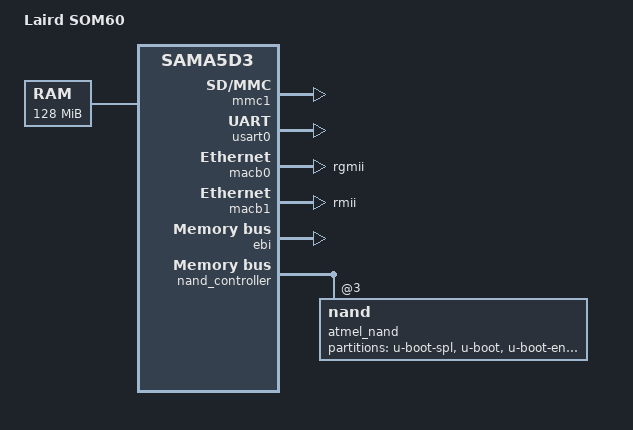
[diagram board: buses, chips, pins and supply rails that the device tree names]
// SPDX-License-Identifier: GPL-2.0
/*
 * at91-som60.dtsi - Device Tree file for the SOM60 module
 *
 *  Copyright (C) 2018 Laird,
 *		  2018 Ben Whitten <ben.whitten@lairdtech.com>
 *
 */
#include "sama5d36.dtsi"

/ {
	model = "Laird SOM60";
	compatible = "laird,som60", "atmel,sama5d36", "atmel,sama5d3", "atmel,sama5";

	chosen {
		stdout-path = &dbgu;
	};

	memory@20000000 {
		reg = <0x20000000 0x8000000>;
	};

	clocks {
		slow_xtal {
			clock-frequency = <32768>;
		};

		main_xtal {
			clock-frequency = <12000000>;
		};
	};
};

&pinctrl {
	board {
		pinctrl_mmc0_cd: mmc0_cd {
			atmel,pins =
				<AT91_PIOE 31 AT91_PERIPH_GPIO AT91_PINCTRL_DEGLITCH>;
		};

		pinctrl_mmc0_en: mmc0_en {
			atmel,pins =
				<AT91_PIOE 30 AT91_PERIPH_GPIO AT91_PINCTRL_NONE>;
		};

		pinctrl_nand0_wp: nand0_wp {
			atmel,pins =
				<AT91_PIOE 14 AT91_PERIPH_GPIO AT91_PINCTRL_PULL_UP>;
		};

		pinctrl_usb_vbus: usb_vbus {
			atmel,pins =
				<AT91_PIOE 20 AT91_PERIPH_GPIO AT91_PINCTRL_NONE>;
				/* Conflicts with USART2_SCK */
		};

		pinctrl_usart2_sck: usart2_sck {
			atmel,pins =
				<AT91_PIOE 20 AT91_PERIPH_B AT91_PINCTRL_NONE>;
				/* Conflicts with USB_VBUS */
		};

		pinctrl_usb_oc: usb_oc {
			atmel,pins =
				<AT91_PIOE 15 AT91_PERIPH_GPIO AT91_PINCTRL_DEGLITCH>;
				/* Conflicts with USART3_SCK */
		};

		pinctrl_usart3_sck: usart3_sck {
			atmel,pins =
				<AT91_PIOE 15 AT91_PERIPH_B AT91_PINCTRL_NONE>;
				/* Conflicts with USB_OC */
		};

		pinctrl_usba_vbus: usba_vbus {
		   atmel,pins =
				<AT91_PIOC 14 AT91_PERIPH_GPIO AT91_PINCTRL_DEGLITCH>;
		};

		pinctrl_geth_int: geth_int {
			atmel,pins =
				<AT91_PIOB 25 AT91_PERIPH_GPIO AT91_PINCTRL_DEGLITCH>;
				/* Conflicts with USART1_SCK */
		};

		pinctrl_usart1_sck: usart1_sck {
			atmel,pins =
				<AT91_PIOB 25 AT91_PERIPH_A AT91_PINCTRL_NONE>;
				/* Conflicts with GETH_INT */
		};

		pinctrl_eth_int: eth_int {
			atmel,pins =
				<AT91_PIOC 10 AT91_PERIPH_GPIO AT91_PINCTRL_DEGLITCH>;
		};

		pinctrl_pck2_as_audio_mck: pck2_as_audio_mck {
			atmel,pins =
				<AT91_PIOC 15 AT91_PERIPH_B AT91_PINCTRL_NONE>;
		};
	};
};

&mmc0 {
	slot@0 {
		reg = <0>;
		bus-width = <8>;
	};
};

&mmc1 {
	status = "okay";
	slot@0 {
		reg = <0>;
		bus-width = <4>;
	};
};

&spi0 {
	cs-gpios = <&pioD 13 0>, <0>, <0>, <0>;
};

&usart0 {
	atmel,use-dma-rx;
	atmel,use-dma-tx;
	status = "okay";
	pinctrl-0 = <&pinctrl_usart0 &pinctrl_usart0_rts_cts>;
};

&usart1 {
	pinctrl-0 = <&pinctrl_usart1 &pinctrl_usart1_rts_cts>;
};

&usart2 {
	pinctrl-0 = <&pinctrl_usart2 &pinctrl_usart2_rts_cts>;
};

&usart3 {
	pinctrl-0 = <&pinctrl_usart3 &pinctrl_usart3_rts_cts>;
};

&adc0 {
	pinctrl-0 = <
		&pinctrl_adc0_adtrg
		&pinctrl_adc0_ad0
		&pinctrl_adc0_ad1
		&pinctrl_adc0_ad2
		&pinctrl_adc0_ad3
		&pinctrl_adc0_ad4
		&pinctrl_adc0_ad5
		>;
};

&macb0 {
	phy-mode = "rgmii";
};

&macb1 {
	phy-mode = "rmii";
};

&ebi {
	pinctrl-0 = <&pinctrl_ebi_nand_addr>;
	pinctrl-names = "default";
	status = "okay";
};

&nand_controller {
	status = "okay";

	nand: nand@3 {
		reg = <0x3 0x0 0x2>;
		atmel,rb = <0>;
		nand-bus-width = <8>;
		nand-ecc-mode = "hw";
		nand-ecc-strength = <8>;
		nand-ecc-step-size = <512>;
		nand-on-flash-bbt;
		label = "atmel_nand";

		partitions {
			compatible = "fixed-partitions";
			#address-cells = <1>;
			#size-cells = <1>;

			ubootspl@0 {
				label = "u-boot-spl";
				reg = <0x0 0x20000>;
			};

			uboot@20000 {
				label = "u-boot";
				reg = <0x20000 0x80000>;
			};

			ubootenv@a0000 {
				label = "u-boot-env";
				reg = <0xa0000 0x20000>;
			};

			ubootenv@c0000 {
				label = "u-boot-env";
				reg = <0xc0000 0x20000>;
			};

			ubi@e0000 {
				label = "ubi";
				reg = <0xe0000 0xfe00000>;
			};
		};
	};
};

&usb0 {
	pinctrl-names = "default";
	pinctrl-0 = <&pinctrl_usba_vbus>;
	atmel,vbus-gpio = <&pioC 14 GPIO_ACTIVE_HIGH>;
};

&usb1 {
	pinctrl-names = "default";
	pinctrl-0 = <&pinctrl_usb_vbus &pinctrl_usb_oc>;
	num-ports = <3>;
	atmel,vbus-gpio = <0
		&pioE 20 GPIO_ACTIVE_HIGH
		0>;
	atmel,oc-gpio = <0
		&pioE 15 GPIO_ACTIVE_LOW
		0>;
};
